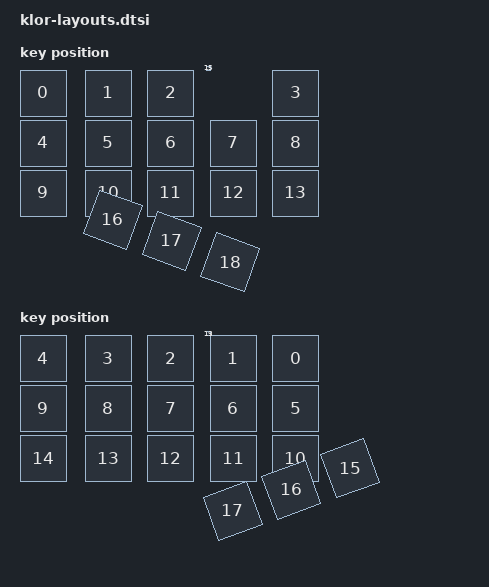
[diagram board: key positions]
// boards/shields/klor/klor-layouts.dtsi
#include <zmk/physical_layouts.dtsi>

/ {
    // LEFT HALF PHYSICAL LAYOUT
    klor_physical_layout_left: klor_physical_layout_left {
        compatible = "zmk,physical-layout";
        display-name = "Klor Left";
        transform = <&default_transform>;
        kscan = <&kscan0>;
        keys = <
            /* Row 0 (Top) - Staggered */
            <&key_physical_attrs 100 100 -380   0 0 0 0> <&key_physical_attrs 100 100 -250   0 0 0 0>
            <&key_physical_attrs 100 100 -125   0 0 0 0> <&key_physical_attrs 100 100    0   0 0 0>
            <&key_physical_attrs 100 100  125   0 0 0 0>
            /* Row 1 */
            <&key_physical_attrs 100 100 -380 100 0 0 0> <&key_physical_attrs 100 100 -250 100 0 0 0>
            <&key_physical_attrs 100 100 -125 100 0 0 0> <&key_physical_attrs 100 100    0 100 0 0 0>
            <&key_physical_attrs 100 100  125 100 0 0 0>
            /* Row 2 */
            <&key_physical_attrs 100 100 -380 200 0 0 0> <&key_physical_attrs 100 100 -250 200 0 0 0>
            <&key_physical_attrs 100 100 -125 200 0 0 0> <&key_physical_attrs 100 100    0 200 0 0 0>
            <&key_physical_attrs 100 100  125 200 0 0 0>
            /* Row 3 (Thumbs) - Rotated 20 degrees */
            <&key_physical_attrs 0 0 0 0 0 0 0> <&key_physical_attrs 0 0 0 0 0 0 0> /* Empty */
            <&key_physical_attrs 100 100 -125 300 2000 0 0>
            <&key_physical_attrs 100 100    0 300 2000 0 0>
            <&key_physical_attrs 100 100  125 300 2000 0 0>
        >;
    };

    // RIGHT HALF PHYSICAL LAYOUT (Mirrored)
    klor_physical_layout_right: klor_physical_layout_right {
        compatible = "zmk,physical-layout";
        display-name = "Klor Right";
        transform = <&default_transform>;
        kscan = <&kscan0>;
        keys = <
            /* Row 0 - Mirrored Stagger */
            <&key_physical_attrs 100 100  125   0 0 0 0> <&key_physical_attrs 100 100    0   0 0 0 0>
            <&key_physical_attrs 100 100 -125   0 0 0 0> <&key_physical_attrs 100 100 -250   0 0 0 0>
            <&key_physical_attrs 100 100 -380   0 0 0 0>
            /* Row 1 */
            <&key_physical_attrs 100 100  125 100 0 0 0> <&key_physical_attrs 100 100    0 100 0 0 0>
            <&key_physical_attrs 100 100 -125 100 0 0 0> <&key_physical_attrs 100 100 -250 100 0 0 0>
            <&key_physical_attrs 100 100 -380 100 0 0 0>
            /* Row 2 */
            <&key_physical_attrs 100 100  125 200 0 0 0> <&key_physical_attrs 100 100    0 200 0 0 0>
            <&key_physical_attrs 100 100 -125 200 0 0 0> <&key_physical_attrs 100 100 -250 200 0 0 0>
            <&key_physical_attrs 100 100 -380 200 0 0 0>
            /* Row 3 (Thumbs) - Rotated -20 degrees */
            <&key_physical_attrs 100 100  125 300 -2000 0 0>
            <&key_physical_attrs 100 100    0 300 -2000 0 0>
            <&key_physical_attrs 100 100 -125 300 -2000 0 0>
            <&key_physical_attrs 0 0 0 0 0 0 0> <&key_physical_attrs 0 0 0 0 0 0 0> /* Empty */
        >;
    };
};   
